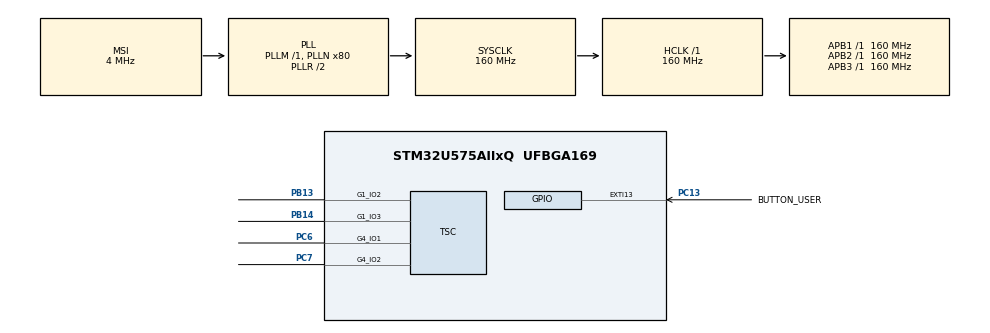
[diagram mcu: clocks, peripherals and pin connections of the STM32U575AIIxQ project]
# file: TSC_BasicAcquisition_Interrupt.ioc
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CORTEX_M33_NS.userName=CORTEX_M33
Mcu.Family=STM32U5
Mcu.Name=STM32U575AIIxQ
Mcu.Package=UFBGA169
NVIC.EXTI13_IRQn=true\:0\:0\:false\:false\:true\:true\:true\:true
NVIC.PriorityGroup=NVIC_PRIORITYGROUP_4
NVIC.TSC_IRQn=true\:0\:0\:false\:false\:true\:true\:true\:true
PB13.Mode=G1_IO2-Shield
PB13.Signal=TSC_G1_IO2
PB14.Mode=G1_IO3-Sampling
PB14.Signal=TSC_G1_IO3
PC13.GPIO_Label=BUTTON_USER
PC13.Signal=GPXTI13
PC6.Mode=G4_IO1-Channel
PC6.Signal=TSC_G4_IO1
PC7.Mode=G4_IO2-Sampling
PC7.Signal=TSC_G4_IO2
PWR.PowerMode=PWR_SMPS_SUPPLY
ProjectManager.HeapSize=0x200
ProjectManager.StackSize=0x1000
ProjectManager.TargetToolchain=EWARM V8.50
RCC.ADCFreq_Value=16000000
RCC.AHBFreq_Value=160000000
RCC.APB1Freq_Value=160000000
RCC.APB1TimFreq_Value=160000000
RCC.APB2Freq_Value=160000000
RCC.APB2TimFreq_Value=160000000
RCC.APB3Freq_Value=160000000
RCC.CortexFreq_Value=160000000
RCC.DACCLockSelectionVirtual=RCC_DAC1CLKSOURCE_LSI
RCC.DACCLockSelectionVirtualString=RCC_DAC1CLKSOURCE_LSI
RCC.EPOD_VALUE=4000000
RCC.HCLKFreq_Value=160000000
RCC.HSE_VALUE=16000000
RCC.HSI48_VALUE=48000000
RCC.HSI_VALUE=16000000
RCC.LSE_VALUE=32768
RCC.LSIDIV_VALUE=32000
RCC.MSI_VALUE=4000000
RCC.PLLN=80
RCC.SYSCLKFreq_VALUE=160000000
RCC.SYSCLKSource=RCC_SYSCLKSOURCE_PLLCLK
RCC.USBFreq_Value=48000000
RCC.VCOOutputFreq_Value=320000000
TSC.ChannelIOs-G4_IO1=TSC_GROUP4_IO1
TSC.MaxCountValue=TSC_MCV_16383
TSC.PulseGeneratorPrescaler=TSC_PG_PRESC_DIV64
TSC.SamplingIOs-G1_IO3=TSC_GROUP1_IO3
TSC.SamplingIOs-G4_IO2=TSC_GROUP4_IO2
TSC.ShieldIOs-G1_IO2=TSC_GROUP1_IO2
TSC.SpreadSpectrum=ENABLE
TSC.SpreadSpectrumDeviation=127
VP_ICACHE_VS_ICACHE.Mode=DirectMappedCache
VP_LPBAMQUEUE_VS_QUEUE.Mode=QUEUEMODE
VP_LPBAM_VS_SIG1.Mode=SmartRun
VP_LPBAM_VS_SIG4.Mode=LPDMA1
VP_PWR_VS_DBSignals.Mode=DisableDeadBatterySignals
VP_PWR_VS_LPOM.Mode=PowerOptimisation
VP_PWR_VS_SECSignals.Mode=Security/Privilege
board=custom

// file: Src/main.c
/* USER CODE BEGIN Header */
/**
  ******************************************************************************
  * @file    TSC/TSC_BasicAcquisition_Interrupt/Src/main.c
  * @author  MCD Application Team
  * @brief   This example describes how to configure and use TSC in interrupt mode
  *          through the STM32U5xx HAL API.
  ******************************************************************************
  * @attention
  *
  * Copyright (c) 2021 STMicroelectronics.
  * All rights reserved.
  *
  * This software is licensed under terms that can be found in the LICENSE file
  * in the root directory of this software component.
  * If no LICENSE file comes with this software, it is provided AS-IS.
  *
  ******************************************************************************
  */
/* USER CODE END Header */
#include "main.h"

/* USER CODE BEGIN Includes */
#include "stdio.h"
#include "stdlib.h"
#include "string.h"
#include "stlogo.h"
/* USER CODE END Includes */

/* USER CODE BEGIN PD */
#define TSCx_TS1_MAXTHRESHOLD 1900 /* This value can be modified, board layout dependency */
/* USER CODE END PD */

TSC_HandleTypeDef htsc;

/* USER CODE BEGIN PV */
__IO FlagStatus UserButtonPressed   = RESET;
/* Variable used to store the acquisition value of the channem */
__IO uint32_t TSCAcquisitionValue;

TSC_IOConfigTypeDef IoConfig;

uint8_t TSCAcquisitionValueStr[256] = {0};

/* Components Initialization Status */
FlagStatus ButtonInitialized = RESET;
FlagStatus LcdInitialized    = RESET;
FlagStatus LedInitialized    = RESET;
/* USER CODE END PV */

void SystemClock_Config(void);
static void SystemPower_Config(void);
static void MX_GPIO_Init(void);
static void MX_ICACHE_Init(void);
static void MX_TSC_Init(void);
/* USER CODE BEGIN PFP */
static void MPU_Config(void);
static void SystemHardwareInit(void);
static void Display_DemoDescription(void);
/* USER CODE END PFP */

int main(void)
{

  /* MCU Configuration--------------------------------------------------------*/

  /* Reset of all peripherals, Initializes the Flash interface and the Systick. */
  HAL_Init();

  /* USER CODE BEGIN Init */
  /* Configure the MPU attributes for SRAM */
  MPU_Config();

  /* USER CODE END Init */

  /* Configure the System Power */
  SystemPower_Config();

  /* Configure the system clock */
  SystemClock_Config();

  /* USER CODE BEGIN SysInit */

  /* System Hardware components initialization (Leds, button and LCD) */
  SystemHardwareInit();

  /* Display demo description */
  Display_DemoDescription();

  /* Wait for button press */
  while (UserButtonPressed != SET);
  UTIL_LCD_FillRect(0, 150, 320, 50, UTIL_LCD_COLOR_WHITE);
  UTIL_LCD_SetTextColor(UTIL_LCD_COLOR_BLUE);
  UTIL_LCD_SetBackColor(UTIL_LCD_COLOR_WHITE);
  UTIL_LCD_DisplayStringAt(0, 140, (uint8_t *)"Threshold value is indicative", CENTER_MODE);
  UTIL_LCD_DisplayStringAt(0, 155, (uint8_t *)"and may need to be adjusted!", CENTER_MODE);
  UTIL_LCD_DrawHLine(0, 210, 320, UTIL_LCD_COLOR_BLUE);
  UTIL_LCD_SetTextColor(UTIL_LCD_COLOR_BROWN);
  UTIL_LCD_SetFont(&Font16);
  /* USER CODE END SysInit */

  /* Initialize all configured peripherals */
  MX_GPIO_Init();
  MX_ICACHE_Init();
  MX_TSC_Init();

  /* Infinite loop */
  while (1)
  {

  }
}

void SystemClock_Config(void)
{
  RCC_OscInitTypeDef RCC_OscInitStruct = {0};
  RCC_ClkInitTypeDef RCC_ClkInitStruct = {0};

  /** Configure the main internal regulator output voltage
  */
  if (HAL_PWREx_ControlVoltageScaling(PWR_REGULATOR_VOLTAGE_SCALE1) != HAL_OK)
  {
    Error_Handler();
  }

  /** Initializes the CPU, AHB and APB buses clocks
  */
  RCC_OscInitStruct.OscillatorType = RCC_OSCILLATORTYPE_MSI;
  RCC_OscInitStruct.MSIState = RCC_MSI_ON;
  RCC_OscInitStruct.MSICalibrationValue = RCC_MSICALIBRATION_DEFAULT;
  RCC_OscInitStruct.MSIClockRange = RCC_MSIRANGE_4;
  RCC_OscInitStruct.PLL.PLLState = RCC_PLL_ON;
  RCC_OscInitStruct.PLL.PLLSource = RCC_PLLSOURCE_MSI;
  RCC_OscInitStruct.PLL.PLLMBOOST = RCC_PLLMBOOST_DIV1;
  RCC_OscInitStruct.PLL.PLLM = 1;
  RCC_OscInitStruct.PLL.PLLN = 80;
  RCC_OscInitStruct.PLL.PLLP = 2;
  RCC_OscInitStruct.PLL.PLLQ = 2;
  RCC_OscInitStruct.PLL.PLLR = 2;
  RCC_OscInitStruct.PLL.PLLRGE = RCC_PLLVCIRANGE_0;
  RCC_OscInitStruct.PLL.PLLFRACN = 0;
  if (HAL_RCC_OscConfig(&RCC_OscInitStruct) != HAL_OK)
  {
    Error_Handler();
  }

  /** Initializes the CPU, AHB and APB buses clocks
  */
  RCC_ClkInitStruct.ClockType = RCC_CLOCKTYPE_HCLK|RCC_CLOCKTYPE_SYSCLK
                              |RCC_CLOCKTYPE_PCLK1|RCC_CLOCKTYPE_PCLK2
                              |RCC_CLOCKTYPE_PCLK3;
  RCC_ClkInitStruct.SYSCLKSource = RCC_SYSCLKSOURCE_PLLCLK;
  RCC_ClkInitStruct.AHBCLKDivider = RCC_SYSCLK_DIV1;
  RCC_ClkInitStruct.APB1CLKDivider = RCC_HCLK_DIV1;
  RCC_ClkInitStruct.APB2CLKDivider = RCC_HCLK_DIV1;
  RCC_ClkInitStruct.APB3CLKDivider = RCC_HCLK_DIV1;

  if (HAL_RCC_ClockConfig(&RCC_ClkInitStruct, FLASH_LATENCY_4) != HAL_OK)
  {
    Error_Handler();
  }
}

/**
  * @brief Power Configuration
  * @retval None
  */
static void SystemPower_Config(void)
{

  /*
   * Disable the internal Pull-Up in Dead Battery pins of UCPD peripheral
   */
  HAL_PWREx_DisableUCPDDeadBattery();

  /*
   * Switch to SMPS regulator instead of LDO
   */
  if (HAL_PWREx_ConfigSupply(PWR_SMPS_SUPPLY) != HAL_OK)
  {
    Error_Handler();
  }
}

static void MX_ICACHE_Init(void)
{

  /** Enable instruction cache in 1-way (direct mapped cache)
  */
  if (HAL_ICACHE_ConfigAssociativityMode(ICACHE_1WAY) != HAL_OK)
  {
    Error_Handler();
  }
  if (HAL_ICACHE_Enable() != HAL_OK)
  {
    Error_Handler();
  }

}

static void MX_TSC_Init(void)
{

  /** Configure the TSC peripheral
  */
  htsc.Instance = TSC;
  htsc.Init.CTPulseHighLength = TSC_CTPH_2CYCLES;
  htsc.Init.CTPulseLowLength = TSC_CTPL_2CYCLES;
  htsc.Init.SpreadSpectrum = ENABLE;
  htsc.Init.SpreadSpectrumDeviation = 127;
  htsc.Init.SpreadSpectrumPrescaler = TSC_SS_PRESC_DIV1;
  htsc.Init.PulseGeneratorPrescaler = TSC_PG_PRESC_DIV64;
  htsc.Init.MaxCountValue = TSC_MCV_16383;
  htsc.Init.IODefaultMode = TSC_IODEF_OUT_PP_LOW;
  htsc.Init.SynchroPinPolarity = TSC_SYNC_POLARITY_FALLING;
  htsc.Init.AcquisitionMode = TSC_ACQ_MODE_NORMAL;
  htsc.Init.MaxCountInterrupt = DISABLE;
  htsc.Init.ChannelIOs = TSC_GROUP4_IO1;
  htsc.Init.ShieldIOs = TSC_GROUP1_IO2;
  htsc.Init.SamplingIOs = TSC_GROUP1_IO3|TSC_GROUP4_IO2;
  if (HAL_TSC_Init(&htsc) != HAL_OK)
  {
    Error_Handler();
  }
  /* USER CODE BEGIN TSC_Init 2 */

  /*##-2- Configure the touch-sensing IOs ####################################*/
  IoConfig.ChannelIOs  = TSC_GROUP4_IO1;
  IoConfig.SamplingIOs = (TSC_GROUP4_IO2 | TSC_GROUP1_IO3);
  IoConfig.ShieldIOs   = TSC_GROUP1_IO2;

  if (HAL_TSC_IOConfig(&htsc, &IoConfig) != HAL_OK)
  {
    /* Initialization Error */
    Error_Handler();
  }

  /*##-3- Discharge the touch-sensing IOs ####################################*/
  HAL_TSC_IODischarge(&htsc, ENABLE);
  HAL_Delay(1); /* 1 ms is more than enough to discharge all capacitors */

  /*##-4- Start the acquisition process ######################################*/
  if (HAL_TSC_Start_IT(&htsc) != HAL_OK)
  {
    /* Acquisition Error */
    Error_Handler();
  }
  /* USER CODE END TSC_Init 2 */

}

static void MX_GPIO_Init(void)
{
  GPIO_InitTypeDef GPIO_InitStruct = {0};

  /* GPIO Ports Clock Enable */
  __HAL_RCC_GPIOC_CLK_ENABLE();
  __HAL_RCC_GPIOB_CLK_ENABLE();

  /*Configure GPIO pin : BUTTON_USER_Pin */
  GPIO_InitStruct.Pin = BUTTON_USER_Pin;
  GPIO_InitStruct.Mode = GPIO_MODE_IT_RISING;
  GPIO_InitStruct.Pull = GPIO_NOPULL;
  HAL_GPIO_Init(BUTTON_USER_GPIO_Port, &GPIO_InitStruct);

  /* EXTI interrupt init*/
  HAL_NVIC_SetPriority(EXTI13_IRQn, 0, 0);
  HAL_NVIC_EnableIRQ(EXTI13_IRQn);

}

/* USER CODE BEGIN 4 */

/**
  * @brief  BSP Push Button callback
  * @param  Button Specifies the pin connected EXTI line
  * @retval None.
  */
void HAL_GPIO_EXTI_Rising_Callback(uint16_t GPIO_Pin)
{
  if (GPIO_Pin == GPIO_PIN_13)
  {
    UserButtonPressed = SET;
  }
}

/**
  * @brief  System Hardware Configuration at Boot
  * @param  None
  * @retval None
  */
static void SystemHardwareInit(void)
{
  /* Init LEDs  */
  if (LedInitialized != SET)
  {
    if (BSP_LED_Init(LED5) != BSP_ERROR_NONE)
    {
      Error_Handler();
    }
    if (BSP_LED_Init(LED6) != BSP_ERROR_NONE)
    {
      Error_Handler();
    }
    LedInitialized = SET;
  }

  /* Init User push-button in EXTI Mode */
  if (ButtonInitialized != SET)
  {
    if (BSP_PB_Init(BUTTON_USER, BUTTON_MODE_EXTI) != BSP_ERROR_NONE)
    {
      Error_Handler();
    }
    ButtonInitialized = SET;
  }

  /* Initialize the LCD */
  if (LcdInitialized != SET)
  {
    /* Initialize the LCD */
    if (BSP_LCD_Init(0, LCD_ORIENTATION_LANDSCAPE) != BSP_ERROR_NONE)
    {
      Error_Handler();
    }

    /* Set LCD functions */
    UTIL_LCD_SetFuncDriver(&LCD_Driver);

    /* Clear the LCD */
    UTIL_LCD_Clear(UTIL_LCD_COLOR_WHITE);

    /* Set the display on */
    if (BSP_LCD_DisplayOn(0) != BSP_ERROR_NONE)
    {
      Error_Handler();
    }

    LcdInitialized = SET;
  }
}

/**
  * @brief  Display main demo messages
  * @param  None
  * @retval None
  */
static void Display_DemoDescription(void)
{
  /* Set font */
  UTIL_LCD_SetFont(&Font24);

  /* Clear the LCD */
  UTIL_LCD_Clear(UTIL_LCD_COLOR_WHITE);

  /* Set the LCD Text Color */
  UTIL_LCD_SetTextColor(UTIL_LCD_COLOR_DARKBLUE);
  UTIL_LCD_SetBackColor(UTIL_LCD_COLOR_WHITE);

  /* Display LCD messages */
  UTIL_LCD_DisplayStringAt(0, 10, (uint8_t *)"STM32U575I-EV", CENTER_MODE);
  UTIL_LCD_DisplayStringAt(0, 35, (uint8_t *)"TSC example", CENTER_MODE);

  /* Draw Bitmap */
  UTIL_LCD_DrawBitmap(120, 65, (uint8_t *)stlogo);

  UTIL_LCD_SetFont(&Font12);
  UTIL_LCD_DisplayStringAt(0, 220, (uint8_t *)"Copyright (c) STMicroelectronics 2021", CENTER_MODE);

  UTIL_LCD_SetFont(&Font16);
  UTIL_LCD_FillRect(0, 150, 320, 50, UTIL_LCD_COLOR_BLUE);
  UTIL_LCD_SetTextColor(UTIL_LCD_COLOR_WHITE);
  UTIL_LCD_SetBackColor(UTIL_LCD_COLOR_BLUE);
  UTIL_LCD_DisplayStringAt(0, 150, (uint8_t *)"Press USER push-button", CENTER_MODE);
  UTIL_LCD_DisplayStringAt(0, 165, (uint8_t *)"to start:", CENTER_MODE);
  UTIL_LCD_SetTextColor(UTIL_LCD_COLOR_ORANGE);
  UTIL_LCD_DisplayStringAt(0, 180, (uint8_t *)"BasicAcquisition Interrupt", CENTER_MODE);

}

/**
  * @brief  Acquisition completed callback in non blocking mode
  * @param  TscHandle: pointer to a TSC_HandleTypeDef structure that contains
  *         the configuration information for the specified TSC.
  * @retval None
  */
void HAL_TSC_ConvCpltCallback(TSC_HandleTypeDef* TscHandle)
{
  uint32_t wait_loop_index = 0;

  /*##-5- Discharge the touch-sensing IOs ####################################*/
  HAL_TSC_IODischarge(&htsc, ENABLE);
  /* Note: a delay can be added here */
  /* wait 100us */
  wait_loop_index = (SystemCoreClock / 10000);
  while (wait_loop_index != 0)
  {
    wait_loop_index--;
  }

  /*##-6- Check if the acquisition is correct (no max count) #################*/
  if (HAL_TSC_GroupGetStatus(&htsc, TSC_GROUP4_IDX) == TSC_GROUP_COMPLETED)
  {
    /*##-7- Read the acquisition value #######################################*/
    TSCAcquisitionValue = HAL_TSC_GroupGetValue(&htsc, TSC_GROUP4_IDX);

    /* Display info */
    sprintf((char*)TSCAcquisitionValueStr, "Acquisition Value: %3u",(unsigned int)TSCAcquisitionValue);
    UTIL_LCD_DisplayStringAt(0, 180, (uint8_t *)TSCAcquisitionValueStr, CENTER_MODE);

    /* Note: Show the touch activity on LEDs.
       The threshold values are indicative and may need to be adjusted */
    if (TSCAcquisitionValue < TSCx_TS1_MAXTHRESHOLD)
      {
        /* TS1 touch detected */
        BSP_LED_On(LED5);
        BSP_LED_Off(LED6);
      }
      else
      {
        /* TS1 not touched */;
        BSP_LED_Off(LED5);
        BSP_LED_On(LED6);
      }
  }

  /*##-8- Re-start the acquisition process ###################################*/
  if (HAL_TSC_Start_IT(&htsc) != HAL_OK)
  {
    /* Acquisition Error */
    Error_Handler();
  }
}

/**
  * @brief  Configure the MPU attributes.
  * @note   The Base Address is External SRAM
  * @param  None
  * @retval None
  */
static void MPU_Config(void)
{
  MPU_Attributes_InitTypeDef   attr;
  MPU_Region_InitTypeDef       region;

  /* Disable MPU before perloading and config update */
  HAL_MPU_Disable();

  /* Define cacheable memory via MPU */
  attr.Number             = MPU_ATTRIBUTES_NUMBER0;
  attr.Attributes         = 0 ;
  HAL_MPU_ConfigMemoryAttributes(&attr);

  /* BaseAddress-LimitAddress configuration */
  region.Enable           = MPU_REGION_ENABLE;
  region.Number           = MPU_REGION_NUMBER0;
  region.AttributesIndex  = MPU_ATTRIBUTES_NUMBER0;
  region.BaseAddress      = FMC_ADDRESS;
  region.LimitAddress     = FMC_ADDRESS + REGION_SIZE - 1;
  region.AccessPermission = MPU_REGION_ALL_RW;
  region.DisableExec      = MPU_INSTRUCTION_ACCESS_ENABLE;
  region.IsShareable      = MPU_ACCESS_NOT_SHAREABLE;
  HAL_MPU_ConfigRegion(&region);

  /* Enable the MPU */
  HAL_MPU_Enable(MPU_PRIVILEGED_DEFAULT);
}
/* USER CODE END 4 */

void Error_Handler(void)
{
  /* USER CODE BEGIN Error_Handler_Debug */
  /* User can add his own implementation to report the HAL error return state */
  __disable_irq();
  while (1)
  {
    BSP_LED_Toggle(LED6);
    HAL_Delay(200);
  }
  /* USER CODE END Error_Handler_Debug */
}
